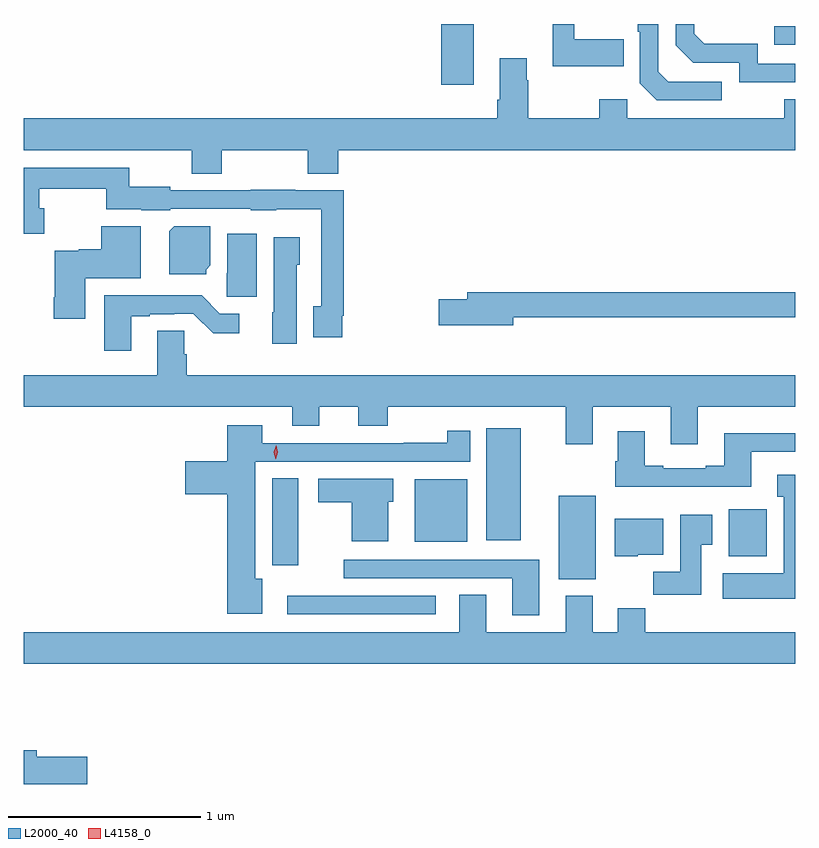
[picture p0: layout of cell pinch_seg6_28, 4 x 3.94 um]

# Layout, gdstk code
import gdstk
lib = gdstk.Library(unit=1e-6, precision=1e-09)
def R(c, l, rs):  # rectangles x0, y0, x1, y1
    for r in rs: c.add(gdstk.rectangle(r[:2], r[2:], *l))
def P(c, l, *ps):  # polygons
    for p in ps: c.add(gdstk.Polygon(p, *l))
L2000_40 = (2000, 40)
L4158_0 = (4158, 0)

pinch_seg6_28 = lib.new_cell('pinch_seg6_28')
R(pinch_seg6_28, L2000_40, [(981.954,963.576,982.726,963.672), (983.363,963.758,983.554,964.192), (981.878,963.831,982.012,964.283), (984.245,963.878,984.442,964.12), (982.616,963.953,982.888,964.276), (982.988,963.959,983.167,964.54), (982.754,966.324,982.921,966.638), (984.481,966.531,984.589,966.627)])
P(pinch_seg6_28, L2000_40, [(984.589,966.432),(984.396,966.432),(984.396,966.535),(984.119,966.535),(984.066,966.588),(984.066,966.638),(983.97,966.638),(983.97,966.528),(984.06,966.438),(984.3,966.438),(984.3,966.336),(984.589,966.336)],
  [(984.208,966.339),(983.931,966.339),(983.88,966.39),(983.88,966.638),(983.772,966.638),(983.772,966.599),(983.784,966.599),(983.784,966.33),(983.871,966.243),(984.208,966.243)],
  [(983.699,966.559),(983.443,966.559),(983.443,966.638),(983.333,966.638),(983.333,966.419),(983.699,966.419)],
  [(981.615,965.984),(982.06,965.984),(982.06,965.86),(982.22,965.86),(982.22,965.984),(984.589,965.984),(984.589,966.247),(984.532,966.247),(984.532,966.148),(983.718,966.148),(983.718,966.247),(983.572,966.247),(983.572,966.148),(983.205,966.148),(983.205,966.347),(983.197,966.347),(983.197,966.46),(983.057,966.46),(983.057,966.244),(983.045,966.244),(983.045,966.148),(980.589,966.148),(980.589,965.984),(981.46,965.984),(981.46,965.86),(981.615,965.86)],
  [(982.24,965.125),(982.247,965.125),(982.247,965.775),(981.997,965.775),(981.997,965.777),(981.765,965.777),(981.765,965.775),(981.348,965.775),(981.348,965.794),(981.136,965.794),(981.136,965.892),(980.589,965.892),(980.589,965.549),(980.694,965.549),(980.694,965.683),(980.668,965.683),(980.668,965.784),(981.015,965.784),(981.015,965.678),(981.198,965.678),(981.198,965.672),(981.348,965.672),(981.348,965.679),(981.765,965.679),(981.765,965.672),(981.897,965.672),(981.897,965.678),(982.131,965.678),(982.131,965.174),(982.091,965.174),(982.091,965.013),(982.24,965.013)],
  [(981.534,965.364),(981.556,965.386),(981.556,965.59),(981.37,965.59),(981.344,965.564),(981.344,965.339),(981.534,965.339)],
  [(980.908,965.318),(981.196,965.318),(981.196,965.588),(980.99,965.588),(980.99,965.469),(980.874,965.469),(980.874,965.461),(980.75,965.461),(980.75,965.221),(980.743,965.221),(980.743,965.109),(980.908,965.109)],
  [(981.796,965.551),(981.644,965.551),(981.644,965.346),(981.64,965.346),(981.64,965.223),(981.796,965.223)],
  [(982.003,965.388),(982.021,965.388),(982.021,965.533),(981.884,965.533),(981.884,965.142),(981.878,965.142),(981.878,964.98),(982.003,964.98)],
  [(983.128,965.118),(984.589,965.118),(984.589,965.246),(982.889,965.246),(982.889,965.21),(982.74,965.21),(982.74,965.075),(983.128,965.075)],
  [(981.145,965.121),(981.241,965.121),(981.241,965.133),(981.368,965.133),(981.368,965.136),(981.468,965.136),(981.571,965.034),(981.706,965.034),(981.706,965.136),(981.606,965.136),(981.512,965.23),(981.005,965.23),(981.005,964.944),(981.145,964.944)],
  [(983.539,964.652),(983.945,964.652),(983.945,964.458),(984.085,964.458),(984.085,964.652),(984.589,964.652),(984.589,964.816),(981.434,964.816),(981.434,964.926),(981.42,964.926),(981.42,965.048),(981.281,965.048),(981.281,964.816),(980.589,964.816),(980.589,964.652),(981.98,964.652),(981.98,964.553),(982.12,964.553),(982.12,964.652),(982.322,964.652),(982.322,964.553),(982.475,964.553),(982.475,964.652),(983.399,964.652),(983.399,964.458),(983.539,964.458)],
  [(981.826,963.76),(981.79,963.76),(981.79,964.368),(982.903,964.368),(982.903,964.528),(982.786,964.528),(982.786,964.466),(982.558,964.466),(982.558,964.464),(981.826,964.464),(981.826,964.558),(981.644,964.558),(981.644,964.369),(981.426,964.369),(981.426,964.199),(981.644,964.199),(981.644,963.578),(981.826,963.578)],
  [(984.361,964.419),(984.589,964.419),(984.589,964.516),(984.221,964.516),(984.221,964.348),(984.125,964.348),(984.125,964.335),(983.905,964.335),(983.905,964.348),(983.809,964.348),(983.809,964.525),(983.669,964.525),(983.669,964.37),(983.657,964.37),(983.657,964.238),(984.361,964.238)],
  [(984.589,964.3),(984.497,964.3),(984.497,964.187),(984.53,964.187),(984.53,963.79),(984.213,963.79),(984.213,963.656),(984.589,963.656)],
  [(982.48,964.161),(982.504,964.161),(982.504,964.279),(982.116,964.279),(982.116,964.157),(982.289,964.157),(982.289,963.956),(982.48,963.956)],
  [(984.103,963.937),(984.16,963.937),(984.16,964.093),(983.993,964.093),(983.993,963.796),(983.854,963.796),(983.854,963.678),(984.103,963.678)],
  [(983.772,963.884),(983.905,963.884),(983.905,964.072),(983.654,964.072),(983.654,963.878),(983.772,963.878)],
  [(983.263,963.858),(982.248,963.858),(982.248,963.762),(983.123,963.762),(983.123,963.57),(983.263,963.57)],
  [(984.589,963.484),(983.813,963.484),(983.813,963.608),(983.669,963.608),(983.669,963.484),(983.539,963.484),(983.539,963.673),(983.399,963.673),(983.399,963.484),(982.987,963.484),(982.987,963.677),(982.847,963.677),(982.847,963.484),(980.589,963.484),(980.589,963.32),(984.589,963.32)],
  [(980.917,962.838),(980.656,962.838),(980.656,962.872),(980.589,962.872),(980.589,962.696),(980.917,962.696)])
P(pinch_seg6_28, L4158_0, [(981.895,964.38),(981.895,964.381),(981.886,964.417),(981.897,964.452),(981.898,964.453),(981.898,964.452),(981.906,964.416),(981.895,964.381)])

lib.write_gds('pinch_seg6_28.gds')
